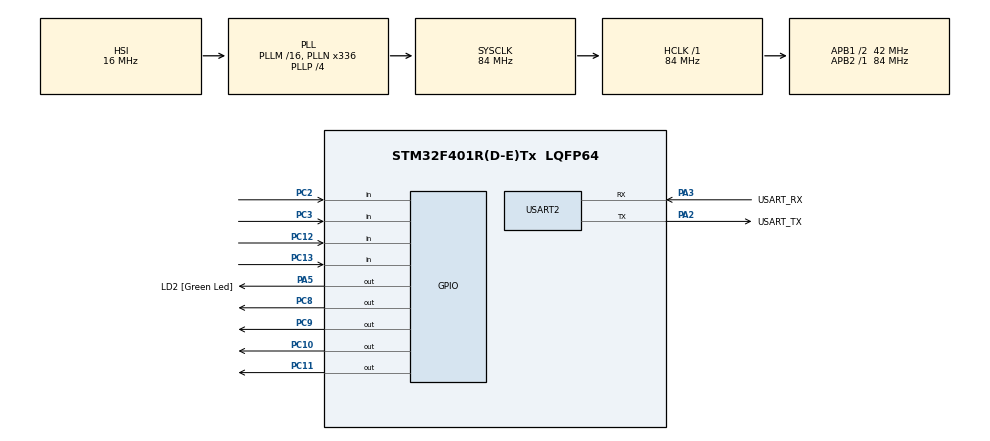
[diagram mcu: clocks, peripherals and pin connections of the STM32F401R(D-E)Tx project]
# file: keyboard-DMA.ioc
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Mcu.Family=STM32F4
Mcu.Name=STM32F401R(D-E)Tx
Mcu.Package=LQFP64
NVIC.PriorityGroup=NVIC_PRIORITYGROUP_0
NVIC.TIM1_TRG_COM_TIM11_IRQn=true\:0\:0\:false\:false\:true\:true\:true
PA13.GPIO_Label=TMS
PA13.Mode=Serial_Wire
PA13.Signal=SYS_JTMS-SWDIO
PA14.GPIO_Label=TCK
PA14.Mode=Serial_Wire
PA14.Signal=SYS_JTCK-SWCLK
PA2.GPIO_Label=USART_TX
PA2.GPIO_Mode=GPIO_MODE_AF_PP
PA2.GPIO_PuPd=GPIO_NOPULL
PA2.GPIO_Speed=GPIO_SPEED_FREQ_LOW
PA2.Mode=Asynchronous
PA2.Signal=USART2_TX
PA3.GPIO_Label=USART_RX
PA3.GPIO_Mode=GPIO_MODE_AF_PP
PA3.GPIO_PuPd=GPIO_NOPULL
PA3.GPIO_Speed=GPIO_SPEED_FREQ_LOW
PA3.Mode=Asynchronous
PA3.Signal=USART2_RX
PA5.GPIO_Label=LD2 [Green Led]
PA5.GPIO_Mode=GPIO_MODE_OUTPUT_PP
PA5.GPIO_PuPd=GPIO_NOPULL
PA5.GPIO_Speed=GPIO_SPEED_FREQ_LOW
PA5.Signal=GPIO_Output
PB3.GPIO_Label=SWO
PB3.Signal=SYS_JTDO-SWO
PC10.Signal=GPIO_Output
PC11.Signal=GPIO_Output
PC12.Signal=GPIO_Input
PC13-ANTI_TAMP.Signal=GPIO_Input
PC14-OSC32_IN.Mode=LSE-External-Oscillator
PC14-OSC32_IN.Signal=RCC_OSC32_IN
PC15-OSC32_OUT.Mode=LSE-External-Oscillator
PC15-OSC32_OUT.Signal=RCC_OSC32_OUT
PC2.Signal=GPIO_Input
PC3.Signal=GPIO_Input
PC8.Signal=GPIO_Output
PC9.Signal=GPIO_Output
PH0\ -\ OSC_IN.Mode=HSE-External-Clock-Source
PH0\ -\ OSC_IN.Signal=RCC_OSC_IN
PH1\ -\ OSC_OUT.Mode=HSE-External-Clock-Source
PH1\ -\ OSC_OUT.Signal=RCC_OSC_OUT
ProjectManager.HeapSize=0x200
ProjectManager.StackSize=0x400
ProjectManager.TargetToolchain=STM32CubeIDE
RCC.48MHZClocksFreq_Value=48000000
RCC.AHBFreq_Value=84000000
RCC.APB1CLKDivider=RCC_HCLK_DIV2
RCC.APB1Freq_Value=42000000
RCC.APB1TimFreq_Value=84000000
RCC.APB2Freq_Value=84000000
RCC.APB2TimFreq_Value=84000000
RCC.CortexFreq_Value=84000000
RCC.HCLKFreq_Value=84000000
RCC.HSE_VALUE=8000000
RCC.HSI_VALUE=16000000
RCC.PLLN=336
RCC.PLLP=RCC_PLLP_DIV4
RCC.PLLQ=7
RCC.SYSCLKFreq_VALUE=84000000
RCC.SYSCLKSource=RCC_SYSCLKSOURCE_PLLCLK
RCC.VCOOutputFreq_Value=336000000
TIM11.Period=42000
TIM11.Prescaler=0
USART2.VirtualMode=VM_ASYNC
VP_TIM11_VS_ClockSourceINT.Mode=Enable_Timer
board=NUCLEO-F401RE

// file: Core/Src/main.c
/* USER CODE BEGIN Header */
/**
 ******************************************************************************
 * @file           : main.c
 * @brief          : Main program body
 ******************************************************************************
 * @attention
 *
 * <h2><center>&copy; Copyright (c) 2021 STMicroelectronics.
 * All rights reserved.</center></h2>
 *
 * This software component is licensed by ST under BSD 3-Clause license,
 * the "License"; You may not use this file except in compliance with the
 * License. You may obtain a copy of the License at:
 *                        opensource.org/licenses/BSD-3-Clause
 *
 ******************************************************************************
 */
/* USER CODE END Header */
#include "main.h"

TIM_HandleTypeDef htim11;

UART_HandleTypeDef huart2;

/* USER CODE BEGIN PV */
int8_t iCol = 0;
int8_t pressed[4][4];
char str[16];
char keyboard_mapping[4][4] = { { '0', '1', '2', '3' }, { '4', '5', '6', '7' },
		{ '8', '9', 'A', 'B' }, { 'C', 'D', 'E', 'F' } };
/* USER CODE END PV */

void SystemClock_Config(void);
static void MX_GPIO_Init(void);
static void MX_USART2_UART_Init(void);
static void MX_TIM11_Init(void);
/* USER CODE BEGIN PFP */
uint8_t readCol();
void setCol(uint8_t iCol);
/* USER CODE END PFP */

int main(void)
{

  /* MCU Configuration--------------------------------------------------------*/

  /* Reset of all peripherals, Initializes the Flash interface and the Systick. */
  HAL_Init();

  /* Configure the system clock */
  SystemClock_Config();

  /* Initialize all configured peripherals */
  MX_GPIO_Init();
  MX_USART2_UART_Init();
  MX_TIM11_Init();

  /* Infinite loop */
  /* USER CODE BEGIN WHILE */
	for (int i = 0; i < 4; i++)
		memset(pressed[i], 0, 4);

	setCol(iCol);

	HAL_TIM_Base_Start_IT(&htim11);
	int x, y;
	while (1) {
		for (x = 0; x < 4; x++) {
			for (y = 0; y < 4; y++) {
				if (pressed[x][y] == 3) {
					pressed[x][y]++;
					sprintf(str, "%c", keyboard_mapping[x][y]);
					HAL_UART_Transmit(&huart2, str, 1, 100);
				}
			}
		}
    /* USER CODE END WHILE */

	}
}

void SystemClock_Config(void)
{
  RCC_OscInitTypeDef RCC_OscInitStruct = {0};
  RCC_ClkInitTypeDef RCC_ClkInitStruct = {0};

  /** Configure the main internal regulator output voltage
  */
  __HAL_RCC_PWR_CLK_ENABLE();
  __HAL_PWR_VOLTAGESCALING_CONFIG(PWR_REGULATOR_VOLTAGE_SCALE2);
  /** Initializes the RCC Oscillators according to the specified parameters
  * in the RCC_OscInitTypeDef structure.
  */
  RCC_OscInitStruct.OscillatorType = RCC_OSCILLATORTYPE_HSI;
  RCC_OscInitStruct.HSIState = RCC_HSI_ON;
  RCC_OscInitStruct.HSICalibrationValue = RCC_HSICALIBRATION_DEFAULT;
  RCC_OscInitStruct.PLL.PLLState = RCC_PLL_ON;
  RCC_OscInitStruct.PLL.PLLSource = RCC_PLLSOURCE_HSI;
  RCC_OscInitStruct.PLL.PLLM = 16;
  RCC_OscInitStruct.PLL.PLLN = 336;
  RCC_OscInitStruct.PLL.PLLP = RCC_PLLP_DIV4;
  RCC_OscInitStruct.PLL.PLLQ = 7;
  if (HAL_RCC_OscConfig(&RCC_OscInitStruct) != HAL_OK)
  {
    Error_Handler();
  }
  /** Initializes the CPU, AHB and APB buses clocks
  */
  RCC_ClkInitStruct.ClockType = RCC_CLOCKTYPE_HCLK|RCC_CLOCKTYPE_SYSCLK
                              |RCC_CLOCKTYPE_PCLK1|RCC_CLOCKTYPE_PCLK2;
  RCC_ClkInitStruct.SYSCLKSource = RCC_SYSCLKSOURCE_PLLCLK;
  RCC_ClkInitStruct.AHBCLKDivider = RCC_SYSCLK_DIV1;
  RCC_ClkInitStruct.APB1CLKDivider = RCC_HCLK_DIV2;
  RCC_ClkInitStruct.APB2CLKDivider = RCC_HCLK_DIV1;

  if (HAL_RCC_ClockConfig(&RCC_ClkInitStruct, FLASH_LATENCY_2) != HAL_OK)
  {
    Error_Handler();
  }
}

static void MX_TIM11_Init(void)
{

  htim11.Instance = TIM11;
  htim11.Init.Prescaler = 0;
  htim11.Init.CounterMode = TIM_COUNTERMODE_UP;
  htim11.Init.Period = 42000;
  htim11.Init.ClockDivision = TIM_CLOCKDIVISION_DIV1;
  htim11.Init.AutoReloadPreload = TIM_AUTORELOAD_PRELOAD_DISABLE;
  if (HAL_TIM_Base_Init(&htim11) != HAL_OK)
  {
    Error_Handler();
  }

}

static void MX_USART2_UART_Init(void)
{

  huart2.Instance = USART2;
  huart2.Init.BaudRate = 115200;
  huart2.Init.WordLength = UART_WORDLENGTH_8B;
  huart2.Init.StopBits = UART_STOPBITS_1;
  huart2.Init.Parity = UART_PARITY_NONE;
  huart2.Init.Mode = UART_MODE_TX_RX;
  huart2.Init.HwFlowCtl = UART_HWCONTROL_NONE;
  huart2.Init.OverSampling = UART_OVERSAMPLING_16;
  if (HAL_UART_Init(&huart2) != HAL_OK)
  {
    Error_Handler();
  }

}

static void MX_GPIO_Init(void)
{
  GPIO_InitTypeDef GPIO_InitStruct = {0};

  /* GPIO Ports Clock Enable */
  __HAL_RCC_GPIOC_CLK_ENABLE();
  __HAL_RCC_GPIOH_CLK_ENABLE();
  __HAL_RCC_GPIOA_CLK_ENABLE();
  __HAL_RCC_GPIOB_CLK_ENABLE();

  /*Configure GPIO pin Output Level */
  HAL_GPIO_WritePin(LD2_GPIO_Port, LD2_Pin, GPIO_PIN_RESET);

  /*Configure GPIO pin Output Level */
  HAL_GPIO_WritePin(GPIOC, GPIO_PIN_8|GPIO_PIN_9|GPIO_PIN_10|GPIO_PIN_11, GPIO_PIN_RESET);

  /*Configure GPIO pins : PC13 PC2 PC3 PC12 */
  GPIO_InitStruct.Pin = GPIO_PIN_13|GPIO_PIN_2|GPIO_PIN_3|GPIO_PIN_12;
  GPIO_InitStruct.Mode = GPIO_MODE_INPUT;
  GPIO_InitStruct.Pull = GPIO_NOPULL;
  HAL_GPIO_Init(GPIOC, &GPIO_InitStruct);

  /*Configure GPIO pin : LD2_Pin */
  GPIO_InitStruct.Pin = LD2_Pin;
  GPIO_InitStruct.Mode = GPIO_MODE_OUTPUT_PP;
  GPIO_InitStruct.Pull = GPIO_NOPULL;
  GPIO_InitStruct.Speed = GPIO_SPEED_FREQ_LOW;
  HAL_GPIO_Init(LD2_GPIO_Port, &GPIO_InitStruct);

  /*Configure GPIO pins : PC8 PC9 PC10 PC11 */
  GPIO_InitStruct.Pin = GPIO_PIN_8|GPIO_PIN_9|GPIO_PIN_10|GPIO_PIN_11;
  GPIO_InitStruct.Mode = GPIO_MODE_OUTPUT_PP;
  GPIO_InitStruct.Pull = GPIO_NOPULL;
  GPIO_InitStruct.Speed = GPIO_SPEED_FREQ_LOW;
  HAL_GPIO_Init(GPIOC, &GPIO_InitStruct);

}

/* USER CODE BEGIN 4 */
void HAL_TIM_PeriodElapsedCallback(TIM_HandleTypeDef *htim) {
	if (htim == &htim11) {
		uint8_t row = readCol();

		// writing the letter for each button pressed in that column
		for (int iRow = 0; iRow < 4; iRow++) {
			if (!(row & (1 << iRow))) {
				if (pressed[iRow][iCol] < 3) {
					pressed[iRow][iCol]++;
				}
			} else {
				pressed[iRow][iCol] = 0;
			}
		}

		// changing the column
		iCol = (iCol + 1) % 4;
		setCol(iCol);
	}
}

uint8_t readCol() {
	return (HAL_GPIO_ReadPin(GPIOC, GPIO_PIN_3) << 3)
			+ (HAL_GPIO_ReadPin(GPIOC, GPIO_PIN_2) << 2)
			+ (HAL_GPIO_ReadPin(GPIOC, GPIO_PIN_13) << 1)
			+ (HAL_GPIO_ReadPin(GPIOC, GPIO_PIN_12) << 0);
}

void setCol(uint8_t iCol) {
	HAL_GPIO_WritePin(GPIOC, GPIO_PIN_11,
			((iCol == 3) ? GPIO_PIN_SET : GPIO_PIN_RESET));
	HAL_GPIO_WritePin(GPIOC, GPIO_PIN_10,
			((iCol == 2) ? GPIO_PIN_SET : GPIO_PIN_RESET));
	HAL_GPIO_WritePin(GPIOC, GPIO_PIN_9,
			((iCol == 1) ? GPIO_PIN_SET : GPIO_PIN_RESET));
	HAL_GPIO_WritePin(GPIOC, GPIO_PIN_8,
			((iCol == 0) ? GPIO_PIN_SET : GPIO_PIN_RESET));

}
/* USER CODE END 4 */

void Error_Handler(void)
{
	__disable_irq();
	while (1) {
	}
}

/************************ (C) COPYRIGHT STMicroelectronics *****END OF FILE****/
